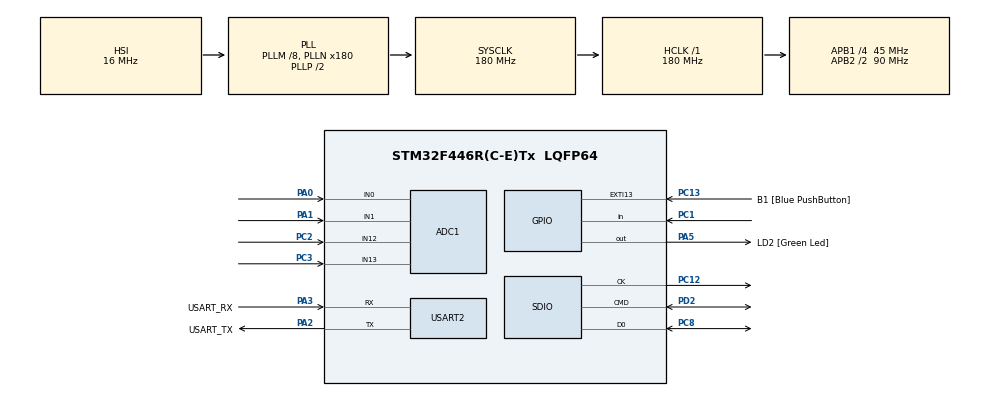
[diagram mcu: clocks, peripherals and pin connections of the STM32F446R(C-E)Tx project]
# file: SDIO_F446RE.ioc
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ADC1.Channel-0\#ChannelRegularConversion=ADC_CHANNEL_0
ADC1.Channel-1\#ChannelRegularConversion=ADC_CHANNEL_1
ADC1.Channel-2\#ChannelRegularConversion=ADC_CHANNEL_12
ADC1.Channel-3\#ChannelRegularConversion=ADC_CHANNEL_13
ADC1.ContinuousConvMode=ENABLE
ADC1.DMAContinuousRequests=ENABLE
ADC1.NbrOfConversion=4
ADC1.NbrOfConversionFlag=1
ADC1.Rank-0\#ChannelRegularConversion=1
ADC1.Rank-1\#ChannelRegularConversion=2
ADC1.Rank-2\#ChannelRegularConversion=3
ADC1.Rank-3\#ChannelRegularConversion=4
ADC1.SamplingTime-0\#ChannelRegularConversion=ADC_SAMPLETIME_480CYCLES
ADC1.SamplingTime-1\#ChannelRegularConversion=ADC_SAMPLETIME_480CYCLES
ADC1.SamplingTime-2\#ChannelRegularConversion=ADC_SAMPLETIME_480CYCLES
ADC1.SamplingTime-3\#ChannelRegularConversion=ADC_SAMPLETIME_480CYCLES
ADC1.master=1
Dma.ADC1.0.Direction=DMA_PERIPH_TO_MEMORY
Dma.ADC1.0.FIFOMode=DMA_FIFOMODE_DISABLE
Dma.ADC1.0.Instance=DMA2_Stream0
Dma.ADC1.0.MemDataAlignment=DMA_MDATAALIGN_HALFWORD
Dma.ADC1.0.MemInc=DMA_MINC_ENABLE
Dma.ADC1.0.Mode=DMA_CIRCULAR
Dma.ADC1.0.PeriphDataAlignment=DMA_PDATAALIGN_HALFWORD
Dma.ADC1.0.PeriphInc=DMA_PINC_DISABLE
Dma.ADC1.0.Priority=DMA_PRIORITY_LOW
Dma.Request0=ADC1
FATFS.BSP.number=1
FATFS._MAX_SS=4096
FATFS0.BSP.STBoard=false
FATFS0.BSP.api=Unknown
FATFS0.BSP.instance=PC1
FATFS0.BSP.ip=GPIO
FATFS0.BSP.mode=Input
FATFS0.BSP.name=Detect_SDIO
FATFS0.BSP.solution=PC1
Mcu.Family=STM32F4
Mcu.Name=STM32F446R(C-E)Tx
Mcu.Package=LQFP64
NVIC.DMA2_Stream0_IRQn=true\:0\:0\:false\:false\:true\:false\:true\:true
NVIC.PriorityGroup=NVIC_PRIORITYGROUP_0
PA0-WKUP.Signal=ADCx_IN0
PA1.Signal=ADCx_IN1
PA13.GPIO_Label=TMS
PA13.Mode=Trace_Asynchronous_SW
PA13.Signal=SYS_JTMS-SWDIO
PA14.GPIO_Label=TCK
PA14.Mode=Trace_Asynchronous_SW
PA14.Signal=SYS_JTCK-SWCLK
PA2.GPIO_Label=USART_TX
PA2.Mode=Asynchronous
PA2.Signal=USART2_TX
PA3.GPIO_Label=USART_RX
PA3.Mode=Asynchronous
PA3.Signal=USART2_RX
PA5.GPIO_Label=LD2 [Green Led]
PA5.Signal=GPIO_Output
PB3.GPIO_Label=SWO
PB3.Mode=Trace_Asynchronous_SW
PB3.Signal=SYS_JTDO-SWO
PC1.Signal=GPIO_Input
PC10.Signal=SDIO_D2
PC11.Signal=SDIO_D3
PC12.Mode=SD_1_bit
PC12.Signal=SDIO_CK
PC13.GPIO_Label=B1 [Blue PushButton]
PC13.GPIO_ModeDefaultEXTI=GPIO_MODE_IT_FALLING
PC13.Signal=GPXTI13
PC14-OSC32_IN.Mode=LSE-External-Oscillator
PC14-OSC32_IN.Signal=RCC_OSC32_IN
PC15-OSC32_OUT.Mode=LSE-External-Oscillator
PC15-OSC32_OUT.Signal=RCC_OSC32_OUT
PC2.Signal=ADCx_IN12
PC3.Signal=ADCx_IN13
PC8.Mode=SD_1_bit
PC8.Signal=SDIO_D0
PC9.Signal=SDIO_D1
PD2.Mode=SD_1_bit
PD2.Signal=SDIO_CMD
PH0-OSC_IN.Mode=HSE-External-Oscillator
PH0-OSC_IN.Signal=RCC_OSC_IN
PH1-OSC_OUT.Mode=HSE-External-Oscillator
PH1-OSC_OUT.Signal=RCC_OSC_OUT
ProjectManager.HeapSize=0x200
ProjectManager.StackSize=0x400
ProjectManager.TargetToolchain=STM32CubeIDE
RCC.48MHZClocksFreq_Value=84000000
RCC.AHBFreq_Value=180000000
RCC.APB1CLKDivider=RCC_HCLK_DIV4
RCC.APB1Freq_Value=45000000
RCC.APB1TimFreq_Value=90000000
RCC.APB2CLKDivider=RCC_HCLK_DIV2
RCC.APB2Freq_Value=90000000
RCC.APB2TimFreq_Value=180000000
RCC.CortexFreq_Value=180000000
RCC.FLatency-AdvancedSettings=FLASH_LATENCY_5
RCC.HCLKFreq_Value=180000000
RCC.HSE_VALUE=8000000
RCC.HSI_VALUE=16000000
RCC.PLLM=8
RCC.PLLN=180
RCC.PLLQ=9
RCC.SYSCLKFreq_VALUE=180000000
RCC.SYSCLKSource=RCC_SYSCLKSOURCE_PLLCLK
RCC.USBFreq_Value=40000000
RCC.VCOOutputFreq_Value=360000000
RTC.Date=17
RTC.Month=RTC_MONTH_APRIL
RTC.WeekDay=RTC_WEEKDAY_MONDAY
RTC.Year=23
SH.ADCx_IN0.0=ADC1_IN0,IN0
SH.ADCx_IN1.0=ADC1_IN1,IN1
SH.ADCx_IN12.0=ADC1_IN12,IN12
SH.ADCx_IN13.0=ADC1_IN13,IN13
USART2.VirtualMode=VM_ASYNC
VP_FATFS_VS_SDIO.Mode=SDIO
VP_RTC_VS_RTC_Activate.Mode=RTC_Enabled
VP_RTC_VS_RTC_Calendar.Mode=RTC_Calendar
board=NUCLEO-F446RE

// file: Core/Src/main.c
/* USER CODE BEGIN Header */
/**
  ******************************************************************************
  * @file           : main.c
  * @brief          : Main program body
  ******************************************************************************
  * @attention
  *
  * Copyright (c) 2023 STMicroelectronics.
  * All rights reserved.
  *
  * This software is licensed under terms that can be found in the LICENSE file
  * in the root directory of this software component.
  * If no LICENSE file comes with this software, it is provided AS-IS.
  *
  ******************************************************************************
  */
/* USER CODE END Header */
#include "main.h"
#include "fatfs.h"

/* USER CODE BEGIN Includes */

#include "stdio.h"
#include <string.h>
#include <math.h>
#include <time.h>
//#include "file_handling.h"
//#include "UartRingbuffer.h"

/* USER CODE END Includes */

/* USER CODE BEGIN PD */
// Total number of samples across each channel (4*1000 = buffer size of 4000 < 4096 maximum)
// Currently (4*100 = buffer size of 400)
#define ADC_BUFFER_SIZE 400

#define BUFFER_SIZE 128
//#define PATH_SIZE 32

// Char buffer to be written to SD card
// Every sample is appended to this buffer
#define SD_BUFFER_SIZE 2500

// Threshold values to detect explosion
// ADC readings are compared to these values after they are converted to the desired units
#define THRESHOLD_AUDIO 	   40
#define THRESHOLD_PRESSURE 	   4.6 // Change in pressure (kPa)
#define THRESHOLD_ACCELERATION 40

// Multiple of number of samples read from ADC
// Num of samples written to file before saving = CLUSTER_SIZE * ADC_BUFFER_SIZE/(num_sensors*2)
// 10,000 = 200 * (400/8)
#define CLUSTER_SIZE 200

// Internal reference voltage for STM32F446RE (mV)
// Multiply by this value to convert raw voltage input to voltage in mV
#define REFERENCE_VOLTAGE_CONVERSION 1000.0/1200.0
// Reference sensitivity for microphone (mV)
// TODO: Need to check with Sandia to make sure this is correct
#define AUDIO_REFERENCE 1.00
// Reference sensitivity for pressure sensor (mV) (14.62 mV/kPa)
#define PRESSURE_REFERENCE 14.62
// Pref is the reference pressure in air, which is 20x10-6 Pa
#define P_REF 0.00002
// Reference sensitivity for accelerometer x-axis (mV)
#define ACC_REFERENCE_X 50.00
// Reference sensitivity for accelerometer y-axis (mV)
#define ACC_REFERENCE_Y 48.97

/* USER CODE END PD */

ADC_HandleTypeDef hadc1;
DMA_HandleTypeDef hdma_adc1;

RTC_HandleTypeDef hrtc;

SD_HandleTypeDef hsd;

UART_HandleTypeDef huart2;

/* USER CODE BEGIN PV */

// 16 bit (Half Word) ADC DMA data width
// ADC array for data (size of 400, width of 16 bits)
// I am only getting 12 bits from the ADC, so 4 bits of memory are wasted per ADC reading)
uint16_t adc_data[ADC_BUFFER_SIZE];

// FIXME: These are not currently being used
uint16_t audio_arr[ADC_BUFFER_SIZE/8];
uint16_t pressure_arr[ADC_BUFFER_SIZE/8];
uint16_t acc_arr[ADC_BUFFER_SIZE/8];

// TODO: Create array to hold date/time info when implemented
// data_type??? time_arr[ADC_BUFFER_SIZE/8];

// Pointer to index of adc_data array
// Used for ping pong buffer to set the start index at the halfway point of the adc_data array
static volatile uint16_t *fromADC_Ptr;
//static volatile uint16_t *toSD_Ptr = &adc_data[0];

char buffer[BUFFER_SIZE];	// Store strings for f_write
//char path[PATH_SIZE];		// buffer to store path

// Buffer that is written to SD card
char SD_buffer[SD_BUFFER_SIZE];

// Flag set when DMA buffer is either half-full or completely full
volatile uint8_t dataReady;
// Flag set when DMA buffer is half-full
volatile uint8_t dmaHalf;
// Flag set when DMA buffer is completely full
volatile uint8_t dmaFull;

/* USER CODE END PV */

void SystemClock_Config(void);
static void MX_GPIO_Init(void);
static void MX_DMA_Init(void);
static void MX_USART2_UART_Init(void);
static void MX_ADC1_Init(void);
static void MX_SDIO_SD_Init(void);
static void MX_RTC_Init(void);

/* USER CODE BEGIN 0 */

// These are already defined in file_handling.c
FATFS fs; // file system object
FIL fil; // file object
FILINFO fno;		// ???
FRESULT fresult;
UINT br, bw;
FATFS *pfs;
DWORD fre_clust;
uint32_t total, free_space;

// Controls amount of data written to buffer fileeee
uint8_t cluster = 0;
// Keeps track of number of files saved out with useful data
uint16_t batch = 0;

// 1 if an explosion was detected between two samples
uint8_t explosionDetected = 0;
// 1 if there was an explosion detected for an entire batch
uint8_t SAVE_BUFFER_FILE = 0;

// Value to store state of SW1 push button
uint8_t button_value = 0;

int saveBufferStart;
int saveBufferStop;

float current_audio;
float current_pressure;
float current_acc;

float current_acc_x;
float current_acc_y;

float previous_audio;
float previous_pressure;
float previous_acc;

float previous_acc_x;
float previous_acc_y;

float delta_audio;
float delta_pressure;
float delta_acc;

int _write(int file, char *ptr, int length) {
	int i = 0;

	for(i = 0; i < length; i++) {
		ITM_SendChar((*ptr++));
	}

	return length;
}

int bufsize (char *buf) {
	int i=0;
	while (*buf++ != '\0') i++;
	return i;
}

// Clear UART buffer for debugging
void bufclear(void) {
	for(int i = 0; i < BUFFER_SIZE; i++){
		buffer[i] = '\0';
	}
}

void SDbufclear(void) {
	for(int i = 0; i < SD_BUFFER_SIZE; i++){
		SD_buffer[i] = '\0';
	}
}

// Size of buffer needs to be a multiple of number of ADC channels (minimum of 4)
// Needs to be divisible by the number of bytes in each line
// that I am writing to the SD card				<-- What did I mean by this???

// Called when ADC buffer is half filled
void HAL_ADC_ConvHalfCpltCallback(ADC_HandleTypeDef* hadc) {
	dmaFull = 0;

	fromADC_Ptr = &adc_data[0];
	dataReady = 1;
}

// Called when ADC buffer is completely filled
void HAL_ADC_ConvCpltCallback(ADC_HandleTypeDef* hadc) {

	fromADC_Ptr = &adc_data[ADC_BUFFER_SIZE/2];

	dmaFull = 1;
	dataReady = 1;
}

void writeSD(const void* buffer, uint16_t len) {
	// Moves the file read/write pointer to the end of the file
	fresult = f_lseek(&fil, f_size(&fil));

	// Write the buffer (data worth half of DMA buffer) to the file
	fresult = f_write(&fil, buffer, len, &bw);

	// f_sync flushes the cached information of a writing file
	//
	// Performs the same process as f_close function but the file is left opened
	// and can continue read/write/seek operations to the file
//	fresult = f_sync(&fil);
}

void processData() {
	uint8_t channel = 0;
	uint16_t write_len = 0;

	// Keeps track of the "global sample" (i.e, every 4 ADC readings)
	uint8_t sample_index = 0;

	snprintf(SD_buffer, SD_BUFFER_SIZE, "%s", "\0"); // Empty char (null char)

	for(uint8_t i = 0; i < (ADC_BUFFER_SIZE)/2; i++) {

		// These if statements will allow me to save the readings of the ADC to the
		// correct sensor variable because each reading is for a different sensor
		//
		// Store the new value read into its respective array
		// audio_arr 	= [0, 30, 56, 70, 56, 30, 0]
		// pressure_arr = [0, 30, 56, 70, 56, 30, 0]
		//
		// index 0 of audio_arr corresponds with the same reading for pressure_arr
		if	   ((i % 4) == 0) {
			// Convert raw sensor value to dB
			// ##.## mV/Pa
			// V*1200 = value (V)
			// V = value/1200 (V)
			// V = (value/1200)*1000 (mV)
			// V = value * voltage_conversion (mV)
			// A = V/##.## (mV*(Pa/mV))
			// A = (value*voltage_convsersion)/##.## (Pa)
			//
			// Sound Pressure Level:
			// SPL = 20log10(P/Pref)
			// P:    pressure (Pa)
			// Pref: reference pressure in air 20x10-6 (Pa)
			//
			// SPL = 20log10(A/Pref) (dB)
			current_audio = fromADC_Ptr[i];
			current_audio = (current_audio * REFERENCE_VOLTAGE_CONVERSION) / AUDIO_REFERENCE;
			current_audio = 20 * log10(current_audio/P_REF);

//			audio_arr[sample_index] = current_audio;

			// Get time here (first reading will count as the time the sample was read)
			// Write this value to the temp string when current_audio is written

			// current_time = some_function_to_get_time_in_micro_seconds()
			// time_arr[sample_index] = current_time
		}
		else if((i % 4) == 1) {
			// Convert raw sensor value to kPa
			// 14.62 mV/kPa
			// V*1200 = value (V)
			// V = value/1200 (V)
			// V = (value/1200)*1000 (mV)
			// V = value * voltage_conversion (mV)
			// P = V/14.62 (mV*(kPa/mV))
			// P = (value*voltage_convsersion)/14.62 (kPa)
			current_pressure = fromADC_Ptr[i];
			current_pressure = (current_pressure * REFERENCE_VOLTAGE_CONVERSION) / PRESSURE_REFERENCE;

//			pressure_arr[sample_index] = current_pressure;

		}
		else if((i % 4) == 2) {
			// Convert raw sensor value to g
			// 50.00 mV/g
			// V*1200 = value (V)
			// V = value/1200 (V)
			// V = (value/1200)*1000 (mV)
			// V = value * voltage_conversion (mV)
			// a = V/50.00 (mV*(g/mV))
			// a = (value*voltage_convsersion)/50.00 (g)
			current_acc_x = fromADC_Ptr[i];
			current_acc_x = (current_acc_x * REFERENCE_VOLTAGE_CONVERSION) / ACC_REFERENCE_X;
		}
		else if((i % 4) == 3) {
			// Convert raw sensor value to g
			// 48.97 mV/g
			// V*1200 = value (V)
			// V = value/1200 (V)
			// V = (value/1200)*1000 (mV)
			// V = value * voltage_conversion (mV)
			// a = V/48.97 (mV*(g/mV))
			// a = (value*voltage_convsersion)/48.97 (g)
			current_acc_y = fromADC_Ptr[i];
			current_acc_y = (current_acc_y * REFERENCE_VOLTAGE_CONVERSION) / ACC_REFERENCE_Y;

			// Get magnitude of acceleration in x and y axes
			current_acc = sqrt((current_acc_x*current_acc_x) + (current_acc_y*current_acc_y));
//			current_acc = current_acc_x;
//			acc_arr[sample_index] = current_acc;
		}

		// Treat every 4th reading like one reading
		if((i % 4) == 3) {
			// Only want to get deltas every 4 readings on the 4th reading because all values
			// only update after 4 total readings from the ADC (4 values, one per reading)
			if(current_audio > previous_audio) {
				delta_audio = current_audio - previous_audio;
			}
			else {
				delta_audio = 0;
			}
			if(current_pressure > previous_pressure) {
				delta_pressure = current_pressure - previous_pressure;
			}
			else {
				delta_pressure = 0;
			}
			if(current_acc > previous_acc) {
				delta_acc = current_acc - previous_acc;
			}
			else {
				delta_acc = 0;
			}

			// Do explosion detection here
			if(delta_pressure >= THRESHOLD_PRESSURE) {
				// Explosion detected bit set for the first time
				// This bit needs to stay set to 1
				explosionDetected = 1;
				SAVE_BUFFER_FILE = 1;
			}

			// Edge case for very first ADC sample (first 4 readings) where previous information does not exist
			// Don't need (dmaFull == 0)
			// if((i <= 3) && (dmaFull == 0) && (cluster == 0) && (batch == 0)) {
			if((i <= 3) && (cluster == 0) && (batch == 0)) {
				delta_audio = 0;
				delta_pressure = 0;
				delta_acc = 0;

				explosionDetected = 0;
				SAVE_BUFFER_FILE = 0;
			}

			// FIXME: Figure out how to explain this
		    // Append new string using length of previously added string
//			snprintf(SD_buffer + strlen(SD_buffer),
//					SD_BUFFER_SIZE - strlen(SD_buffer),
//					"%d,%d,%d,%.3f,%.3f\r\n",
//					batch, cluster, explosionDetected, current_pressure, delta_pressure);

			uint8_t zero = 0;
			snprintf(SD_buffer + strlen(SD_buffer),
					SD_BUFFER_SIZE - strlen(SD_buffer),
					"%d,%d,%d,%.3f,%.3f\r\n",
					zero, cluster, explosionDetected, current_pressure, delta_pressure);

			// The current samples will be the "previous" samples for the next samples
			// These are placed in this loop for the same reason that the deltas are placed here
			previous_audio = current_audio;
			previous_pressure = current_pressure;
			previous_acc = current_acc;

			previous_acc_x = current_acc_x;
			previous_acc_y = current_acc_y;

			sample_index++;
		}

		// Use Friedlander waveform to estimate how long the explosion will last for,
		// then set flag to 0 when time reaches that value
		explosionDetected = 0;

		// Increment channel counter to read from next channel
		if(channel < 3) {
			channel += 1;
		}
		else {
			channel = 0;
		}
	}
	// Get length of huge buffer to be written to SD card
	write_len = strlen(SD_buffer);
	// Finally, write huge buffer to SD card
	writeSD(SD_buffer, write_len);

	// Clear SD_buffer so new data can be written (next half of DMA buffer)
	SDbufclear();

	dataReady = 0;
}

void saveBufferFile() {
	char file_name[20];

	// Do something here
	fresult = f_close(&fil);

	// FIXME: This is
	// need to have variable length string for file name (depends on batch #)
	snprintf(file_name, BUFFER_SIZE, "BATCH_%d.csv", batch);
	snprintf(file_name, strlen(file_name)+1, "BATCH_%d.csv", batch);

	f_rename("adc_data.csv", file_name);
}

// TODO: Write function to overwrite existing buffer file
// Doing this avoids wasting time by:
//	1. Creating and opening a new file
//	2. Writing the column names to that file
void overwriteBufferFile() {
	// Do this if the buffer file does not need to be saved
	// Begin writing over current buffer file (skipping the column names)

	// Moves the file read/write pointer to the beginning of the 2nd line
//	fresult = f_lseek(&fil, f_size(&fil));
//	fresult = f_lseek(&fil, strlen(column_names));

}

void setupBufferFile() {
	char *name = "adc_data.csv";

	fresult = f_stat(name, &fno);

	if (fresult == FR_OK) {
		printf("*%s* already exists!!!\n",name);
		bufclear();
	}
	else {
		// FA_CREATE_ALWAYS
		// Creates a new file. If the file is existing, it will be truncated and overwritten.
		fresult = f_open(&fil, name, FA_CREATE_ALWAYS|FA_READ|FA_WRITE);
	}

	if(fresult != FR_OK) {
		printf ("ERROR: no %d in creating file *%s*\n", fresult, name);
		bufclear();
	}
	else {
		printf ("*%s* created successfully\n",name);
		bufclear();
	}

	fresult = f_printf(&fil, "batch,cluster,explosion,pressure,delta_pressure\r\n");
}

/* USER CODE END 0 */

int main(void)
{
  /* USER CODE BEGIN 1 */

	// Make sure conversion value is correct
//	printf("REFERENCE_VOLTAGE_CONVERSION: %.3f\r\n", REFERENCE_VOLTAGE_CONVERSION);

  /* USER CODE END 1 */

  /* MCU Configuration--------------------------------------------------------*/

  /* Reset of all peripherals, Initializes the Flash interface and the Systick. */
  HAL_Init();

  /* Configure the system clock */
  SystemClock_Config();

  /* Initialize all configured peripherals */
  MX_GPIO_Init();
  MX_DMA_Init();
  MX_USART2_UART_Init();
  MX_ADC1_Init();
  MX_SDIO_SD_Init();
  MX_FATFS_Init();
  MX_RTC_Init();
  /* USER CODE BEGIN 2 */

  // Start DMA buffer
  HAL_ADC_Start_DMA(&hadc1, (uint16_t*)adc_data, ADC_BUFFER_SIZE);

  // Mount SD card
  fresult = f_mount(&fs, "", 0);

  if(fresult != FR_OK){
	  printf("ERROR in mounting SD card...\n");
  }
  else {
	  printf("SD card mounted successfully...\n");
  }

//  // Check free space on SD card
//  f_getfree("", &fre_clust, &pfs);
//
//  total = (uint32_t)((pfs->n_fatent - 2) * pfs->csize * 0.5);
//  printf("SD card total size: \t%lu\n", total);
//  bufclear();
//  free_space = (uint32_t)(fre_clust * pfs->csize * 0.5);
//  printf("SD card free space: \t%lu\n", free_space);
//  bufclear();

  // Turn this setup process into a function

  char *name = "adc_data.csv";
  char *column_names = "batch,cluster,explosion,pressure,delta_pressure\r\n";

  fresult = f_stat(name, &fno);

  if (fresult == FR_OK) {
	  printf("*%s* already exists!!!\n",name);
	  bufclear();
  }
  else {
	  fresult = f_open(&fil, name, FA_CREATE_ALWAYS|FA_READ|FA_WRITE);
  }
	  if(fresult != FR_OK) {
		  printf ("ERROR: no %d in creating file *%s*\n", fresult, name);
		  bufclear();
	  }
	  else {
		  printf ("*%s* created successfully\n",name);
		  bufclear();
	  }

  fresult = f_printf(&fil, "batch,cluster,explosion,pressure,delta_pressure\r\n");

  // Get starting tick value (start timer)
  int start = HAL_GetTick();

  /* USER CODE END 2 */

  /* Infinite loop */
  while (1)
  {

    /* USER CODE BEGIN 3 */

	  if(dataReady) {

		  // Read BUFFER_SIZE/2 data points from ADC and add to buffer
		  processData();
		  // Increment cluster count
		  cluster++;

	  	  }

	  // Stop when cluster is a certain value (leads to unmount SD card)
	  // FIXME: UNDO THIS TO SHOW THRESHOLD ACTIVATION WORKS
	  // saveBufferFile() saves the previous buffer file as a new file with the corresponding batch number
	  // setupBufferFile() creates a new file which will be used as the next buffer file
//	  if((cluster >= CLUSTER_SIZE) && SAVE_BUFFER_FILE) {
	  if(cluster >= CLUSTER_SIZE) {
		  saveBufferStart = HAL_GetTick();
		  saveBufferFile();
		  setupBufferFile();
		  saveBufferStop = HAL_GetTick();

		  // printf("Time wasted saving buffer data and creating new buffer file: %d\r\n", saveBufferStop-saveBufferStart);

		  cluster = 0;
		  SAVE_BUFFER_FILE = 0;

		  batch++;
	  }
//	  else {
//		  // Do this if the buffer file does not need to be saved
//		  // Begin writing over current buffer file (skipping the column names)
//		  // overwriteBufferFile();
//
//		  // Or, just start writing another buffer file without saving the current buffer file
//		  cluster = 0;
//		  SAVE_BUFFER_FILE = 0;
//
//		  batch++;
//	  }

	  // This will eventually turn into an external interrupt from the user
	  // pressing a button
	  button_value = HAL_GPIO_ReadPin(B1_GPIO_Port, B1_Pin);

	  // TODO: Uncomment this for button stop functionality
	  if(button_value == 0) {
		  break;
	  }

	  if(batch >= 5) {
		  break;
	  }

  }

  int stop = HAL_GetTick();

  printf("Total time to write %d samples to SD card: %d ms\n", (ADC_BUFFER_SIZE/8)*CLUSTER_SIZE*batch, (stop - start));
  printf("Samples per second: %.3f\n", 1000.0*(ADC_BUFFER_SIZE/8)*CLUSTER_SIZE*batch/(stop - start));

  // Stop ADC DMA and disable ADC
  HAL_ADC_Stop_DMA(&hadc1);

  // Close buffer file
  f_close(&fil);
  if (fresult != FR_OK) {
	  printf ("ERROR: no %d in closing file *%s*\n", fresult, name);
	  bufclear();
  }

  // After while loop when break
  // Unmount SD card
  fresult = f_mount(NULL, "/", 1);
  if (fresult == FR_OK) {
	  printf("SD card unmounted successfully...\n");
	  bufclear();
  }
  else {
	  printf("ERROR: unmounting SD card\n");
	  bufclear();
  }

  /* USER CODE END 3 */
}

void SystemClock_Config(void)
{
  RCC_OscInitTypeDef RCC_OscInitStruct = {0};
  RCC_ClkInitTypeDef RCC_ClkInitStruct = {0};

  /** Configure the main internal regulator output voltage
  */
  __HAL_RCC_PWR_CLK_ENABLE();
  __HAL_PWR_VOLTAGESCALING_CONFIG(PWR_REGULATOR_VOLTAGE_SCALE1);

  /** Initializes the RCC Oscillators according to the specified parameters
  * in the RCC_OscInitTypeDef structure.
  */
  RCC_OscInitStruct.OscillatorType = RCC_OSCILLATORTYPE_HSI|RCC_OSCILLATORTYPE_LSI;
  RCC_OscInitStruct.LSEState = RCC_LSE_ON;
  RCC_OscInitStruct.HSIState = RCC_HSI_ON;
  RCC_OscInitStruct.HSICalibrationValue = RCC_HSICALIBRATION_DEFAULT;
  RCC_OscInitStruct.LSIState = RCC_LSI_ON;
  RCC_OscInitStruct.PLL.PLLState = RCC_PLL_ON;
  RCC_OscInitStruct.PLL.PLLSource = RCC_PLLSOURCE_HSI;
  RCC_OscInitStruct.PLL.PLLM = 8;
  RCC_OscInitStruct.PLL.PLLN = 180;
  RCC_OscInitStruct.PLL.PLLP = RCC_PLLP_DIV2;
  RCC_OscInitStruct.PLL.PLLQ = 9;
  RCC_OscInitStruct.PLL.PLLR = 2;
  if (HAL_RCC_OscConfig(&RCC_OscInitStruct) != HAL_OK)
  {
    Error_Handler();
  }

  /** Activate the Over-Drive mode
  */
  if (HAL_PWREx_EnableOverDrive() != HAL_OK)
  {
    Error_Handler();
  }

  /** Initializes the CPU, AHB and APB buses clocks
  */
  RCC_ClkInitStruct.ClockType = RCC_CLOCKTYPE_HCLK|RCC_CLOCKTYPE_SYSCLK
                              |RCC_CLOCKTYPE_PCLK1|RCC_CLOCKTYPE_PCLK2;
  RCC_ClkInitStruct.SYSCLKSource = RCC_SYSCLKSOURCE_PLLCLK;
  RCC_ClkInitStruct.AHBCLKDivider = RCC_SYSCLK_DIV1;
  RCC_ClkInitStruct.APB1CLKDivider = RCC_HCLK_DIV4;
  RCC_ClkInitStruct.APB2CLKDivider = RCC_HCLK_DIV2;

  if (HAL_RCC_ClockConfig(&RCC_ClkInitStruct, FLASH_LATENCY_5) != HAL_OK)
  {
    Error_Handler();
  }
}

static void MX_ADC1_Init(void)
{

  ADC_ChannelConfTypeDef sConfig = {0};

  /** Configure the global features of the ADC (Clock, Resolution, Data Alignment and number of conversion)
  */
  hadc1.Instance = ADC1;
  hadc1.Init.ClockPrescaler = ADC_CLOCK_SYNC_PCLK_DIV4;
  hadc1.Init.Resolution = ADC_RESOLUTION_12B;
  hadc1.Init.ScanConvMode = ENABLE;
  hadc1.Init.ContinuousConvMode = ENABLE;
  hadc1.Init.DiscontinuousConvMode = DISABLE;
  hadc1.Init.ExternalTrigConvEdge = ADC_EXTERNALTRIGCONVEDGE_NONE;
  hadc1.Init.ExternalTrigConv = ADC_SOFTWARE_START;
  hadc1.Init.DataAlign = ADC_DATAALIGN_RIGHT;
  hadc1.Init.NbrOfConversion = 4;
  hadc1.Init.DMAContinuousRequests = ENABLE;
  hadc1.Init.EOCSelection = ADC_EOC_SINGLE_CONV;
  if (HAL_ADC_Init(&hadc1) != HAL_OK)
  {
    Error_Handler();
  }

  /** Configure for the selected ADC regular channel its corresponding rank in the sequencer and its sample time.
  */
  sConfig.Channel = ADC_CHANNEL_0;
  sConfig.Rank = 1;
  sConfig.SamplingTime = ADC_SAMPLETIME_480CYCLES;
  if (HAL_ADC_ConfigChannel(&hadc1, &sConfig) != HAL_OK)
  {
    Error_Handler();
  }

  /** Configure for the selected ADC regular channel its corresponding rank in the sequencer and its sample time.
  */
  sConfig.Channel = ADC_CHANNEL_1;
  sConfig.Rank = 2;
  if (HAL_ADC_ConfigChannel(&hadc1, &sConfig) != HAL_OK)
  {
    Error_Handler();
  }

  /** Configure for the selected ADC regular channel its corresponding rank in the sequencer and its sample time.
  */
  sConfig.Channel = ADC_CHANNEL_12;
  sConfig.Rank = 3;
  if (HAL_ADC_ConfigChannel(&hadc1, &sConfig) != HAL_OK)
  {
    Error_Handler();
  }

  /** Configure for the selected ADC regular channel its corresponding rank in the sequencer and its sample time.
  */
  sConfig.Channel = ADC_CHANNEL_13;
  sConfig.Rank = 4;
  if (HAL_ADC_ConfigChannel(&hadc1, &sConfig) != HAL_OK)
  {
    Error_Handler();
  }

}

static void MX_RTC_Init(void)
{

  RTC_TimeTypeDef sTime = {0};
  RTC_DateTypeDef sDate = {0};

  /** Initialize RTC Only
  */
  hrtc.Instance = RTC;
  hrtc.Init.HourFormat = RTC_HOURFORMAT_24;
  hrtc.Init.AsynchPrediv = 127;
  hrtc.Init.SynchPrediv = 255;
  hrtc.Init.OutPut = RTC_OUTPUT_DISABLE;
  hrtc.Init.OutPutPolarity = RTC_OUTPUT_POLARITY_HIGH;
  hrtc.Init.OutPutType = RTC_OUTPUT_TYPE_OPENDRAIN;
  if (HAL_RTC_Init(&hrtc) != HAL_OK)
  {
    Error_Handler();
  }

  /** Initialize RTC and set the Time and Date
  */
  sTime.Hours = 0x0;
  sTime.Minutes = 0x0;
  sTime.Seconds = 0x0;
  sTime.DayLightSaving = RTC_DAYLIGHTSAVING_NONE;
  sTime.StoreOperation = RTC_STOREOPERATION_RESET;
  if (HAL_RTC_SetTime(&hrtc, &sTime, RTC_FORMAT_BCD) != HAL_OK)
  {
    Error_Handler();
  }
  sDate.WeekDay = RTC_WEEKDAY_MONDAY;
  sDate.Month = RTC_MONTH_APRIL;
  sDate.Date = 0x17;
  sDate.Year = 0x23;

  if (HAL_RTC_SetDate(&hrtc, &sDate, RTC_FORMAT_BCD) != HAL_OK)
  {
    Error_Handler();
  }

}

static void MX_SDIO_SD_Init(void)
{

  hsd.Instance = SDIO;
  hsd.Init.ClockEdge = SDIO_CLOCK_EDGE_RISING;
  hsd.Init.ClockBypass = SDIO_CLOCK_BYPASS_DISABLE;
  hsd.Init.ClockPowerSave = SDIO_CLOCK_POWER_SAVE_DISABLE;
  hsd.Init.BusWide = SDIO_BUS_WIDE_1B;
  hsd.Init.HardwareFlowControl = SDIO_HARDWARE_FLOW_CONTROL_DISABLE;
  hsd.Init.ClockDiv = 0;

}

static void MX_USART2_UART_Init(void)
{

  huart2.Instance = USART2;
  huart2.Init.BaudRate = 115200;
  huart2.Init.WordLength = UART_WORDLENGTH_8B;
  huart2.Init.StopBits = UART_STOPBITS_1;
  huart2.Init.Parity = UART_PARITY_NONE;
  huart2.Init.Mode = UART_MODE_TX_RX;
  huart2.Init.HwFlowCtl = UART_HWCONTROL_NONE;
  huart2.Init.OverSampling = UART_OVERSAMPLING_16;
  if (HAL_UART_Init(&huart2) != HAL_OK)
  {
    Error_Handler();
  }

}

static void MX_DMA_Init(void)
{

  /* DMA controller clock enable */
  __HAL_RCC_DMA2_CLK_ENABLE();

  /* DMA interrupt init */
  /* DMA2_Stream0_IRQn interrupt configuration */
  HAL_NVIC_SetPriority(DMA2_Stream0_IRQn, 0, 0);
  HAL_NVIC_EnableIRQ(DMA2_Stream0_IRQn);

}

static void MX_GPIO_Init(void)
{
  GPIO_InitTypeDef GPIO_InitStruct = {0};

  /* GPIO Ports Clock Enable */
  __HAL_RCC_GPIOC_CLK_ENABLE();
  __HAL_RCC_GPIOH_CLK_ENABLE();
  __HAL_RCC_GPIOA_CLK_ENABLE();
  __HAL_RCC_GPIOD_CLK_ENABLE();
  __HAL_RCC_GPIOB_CLK_ENABLE();

  /*Configure GPIO pin Output Level */
  HAL_GPIO_WritePin(LD2_GPIO_Port, LD2_Pin, GPIO_PIN_RESET);

  /*Configure GPIO pin : B1_Pin */
  GPIO_InitStruct.Pin = B1_Pin;
  GPIO_InitStruct.Mode = GPIO_MODE_IT_FALLING;
  GPIO_InitStruct.Pull = GPIO_NOPULL;
  HAL_GPIO_Init(B1_GPIO_Port, &GPIO_InitStruct);

  /*Configure GPIO pin : PC1 */
  GPIO_InitStruct.Pin = GPIO_PIN_1;
  GPIO_InitStruct.Mode = GPIO_MODE_INPUT;
  GPIO_InitStruct.Pull = GPIO_NOPULL;
  HAL_GPIO_Init(GPIOC, &GPIO_InitStruct);

  /*Configure GPIO pin : LD2_Pin */
  GPIO_InitStruct.Pin = LD2_Pin;
  GPIO_InitStruct.Mode = GPIO_MODE_OUTPUT_PP;
  GPIO_InitStruct.Pull = GPIO_NOPULL;
  GPIO_InitStruct.Speed = GPIO_SPEED_FREQ_LOW;
  HAL_GPIO_Init(LD2_GPIO_Port, &GPIO_InitStruct);

}

void Error_Handler(void)
{
  __disable_irq();
  while (1)
  {
  }
}
